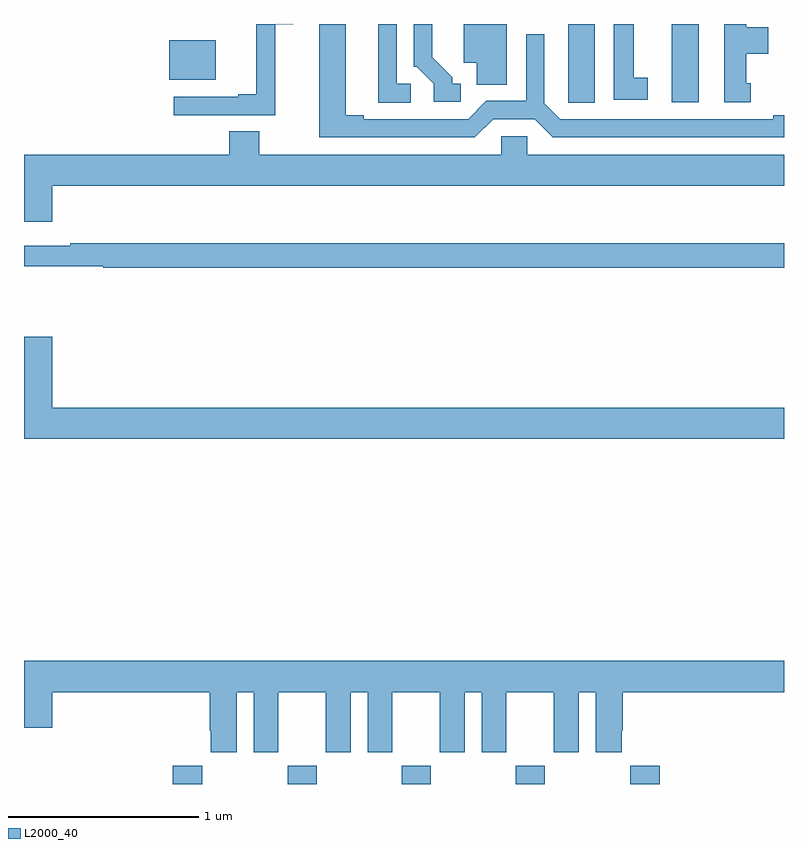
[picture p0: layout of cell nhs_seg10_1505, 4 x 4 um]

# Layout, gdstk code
import gdstk
lib = gdstk.Library(unit=1e-6, precision=1e-09)
def R(c, l, rs):  # rectangles x0, y0, x1, y1
    for r in rs: c.add(gdstk.rectangle(r[:2], r[2:], *l))
def A(c, l, x, y, w, h, nx, ny, dx, dy):  # array of equal rectangles
    R(c, l, [(x+i*dx, y+j*dy, x+i*dx+w, y+j*dy+h) for i in range(nx) for j in range(ny)])
def P(c, l, *ps):  # polygons
    for p in ps: c.add(gdstk.Polygon(p, *l))
L2000_40 = (2000, 40)

nhs_seg10_1505 = lib.new_cell('nhs_seg10_1505')
A(nhs_seg10_1505, L2000_40, 190.387, 1298.5, 0.155, 0.096, 3, 1, 0.6, 0)
R(nhs_seg10_1505, L2000_40, [(189.782,1298.5,189.937,1298.596), (192.191,1298.5,192.347,1298.596), (192.41,1302.087,192.55,1302.5), (189.764,1302.206,190.009,1302.415)])
P(nhs_seg10_1505, L2000_40, [(192.826,1302.189),(192.802,1302.189),(192.802,1302.344),(192.916,1302.344),(192.916,1302.484),(192.802,1302.484),(192.802,1302.5),(192.686,1302.5),(192.686,1302.087),(192.826,1302.087)],
  [(191.542,1302.5),(191.315,1302.5),(191.315,1302.296),(191.384,1302.296),(191.384,1302.181),(191.542,1302.181)],
  [(191.469,1302),(191.687,1302),(191.783,1301.904),(193,1301.904),(193,1302.02),(192.944,1302.02),(192.944,1302),(191.823,1302),(191.739,1302.084),(191.739,1302.445),(191.643,1302.445),(191.643,1302.096),(191.433,1302.096),(191.337,1302),(190.789,1302),(190.789,1302.02),(190.693,1302.02),(190.693,1302.5),(190.553,1302.5),(190.553,1301.904),(191.373,1301.904)],
  [(191.299,1302.186),(191.254,1302.186),(191.254,1302.221),(191.149,1302.326),(191.149,1302.5),(191.052,1302.5),(191.052,1302.276),(191.067,1302.276),(191.157,1302.186),(191.157,1302.09),(191.299,1302.09)],
  [(192.283,1302.218),(192.208,1302.218),(192.208,1302.5),(192.104,1302.5),(192.104,1302.102),(192.283,1302.102)],
  [(192.004,1302.5),(191.864,1302.5),(191.864,1302.193),(191.865,1302.193),(191.865,1302.085),(192.004,1302.085)],
  [(190.323,1302.499),(190.417,1302.499),(190.417,1302.5),(190.223,1302.5),(190.223,1302.13),(190.127,1302.13),(190.127,1302.117),(189.789,1302.117),(189.789,1302.021),(190.323,1302.021)],
  [(191.035,1302.186),(190.962,1302.186),(190.962,1302.5),(190.865,1302.5),(190.865,1302.085),(191.035,1302.085)],
  [(189.148,1301.648),(193,1301.648),(193,1301.812),(191.649,1301.812),(191.649,1301.91),(191.511,1301.91),(191.511,1301.812),(190.239,1301.812),(190.239,1301.936),(190.079,1301.936),(190.079,1301.812),(189,1301.812),(189,1301.46),(189.148,1301.46)],
  [(193,1301.347),(189.244,1301.347),(189.244,1301.334),(189,1301.334),(189,1301.226),(189.416,1301.226),(189.416,1301.218),(193,1301.218)],
  [(193,1300.48),(189.148,1300.48),(189.148,1300.855),(189,1300.855),(189,1300.316),(193,1300.316)],
  [(189,1298.796),(189.148,1298.796),(189.148,1298.984),(189.977,1298.984),(189.977,1298.779),(189.983,1298.779),(189.983,1298.667),(190.12,1298.667),(190.12,1298.984),(190.208,1298.984),(190.208,1298.667),(190.339,1298.667),(190.339,1298.984),(190.589,1298.984),(190.589,1298.667),(190.72,1298.667),(190.72,1298.984),(190.808,1298.984),(190.808,1298.667),(190.939,1298.667),(190.939,1298.984),(191.189,1298.984),(191.189,1298.667),(191.32,1298.667),(191.32,1298.984),(191.408,1298.984),(191.408,1298.667),(191.539,1298.667),(191.539,1298.984),(191.789,1298.984),(191.789,1298.667),(191.92,1298.667),(191.92,1298.984),(192.008,1298.984),(192.008,1298.667),(192.145,1298.667),(192.145,1298.779),(192.152,1298.779),(192.152,1298.984),(193,1298.984),(193,1299.148),(189,1299.148)])

lib.write_gds('nhs_seg10_1505.gds')
